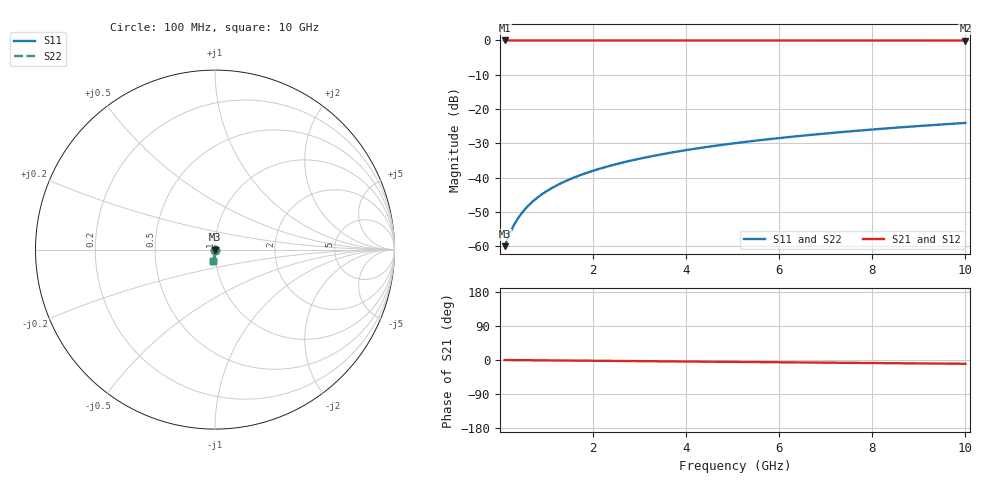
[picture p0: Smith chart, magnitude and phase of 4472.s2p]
# Hz S RI R 50.00
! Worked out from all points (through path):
!   100 points, 100 MHz to 10 GHz, reference 50 ohm
!   highest |S21| = -0.01 dB at 100 MHz (marker M1); lowest = 0.0 dB at 10 GHz (marker M2)
!   group delay of S21, straight-line fit = 2.77 ps
!   lowest |S11| = -59.9 dB at 100 MHz (marker M3), VSWR 1.00, Z = 50.1 - j0.0634 ohm
!   |S11| at or under -10 dB: start of sweep to end of sweep
!   |S22| runs from -59.9 to -24.0 dB; largest |S21 - S12| = 0
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1e8  0.000786 -0.000633  0.9992 -0.00174  0.9992 -0.00174  0.000786 -0.000633
2e8  0.000787 -0.00127  0.9992 -0.00347  0.9992 -0.00347  0.000787 -0.00127
3e8  0.000785 -0.0019  0.9992 -0.00521  0.9992 -0.00521  0.000785 -0.0019
4e8  0.000779 -0.00253  0.9992 -0.00695  0.9992 -0.00695  0.000779 -0.00253
5e8  0.000771 -0.00316  0.9991 -0.00868  0.9991 -0.00868  0.000771 -0.00316
6e8  0.00076 -0.0038  0.9991 -0.0104  0.9991 -0.0104  0.00076 -0.0038
7e8  0.000747 -0.00443  0.9991 -0.0122  0.9991 -0.0122  0.000747 -0.00443
9e8  0.000713 -0.00569  0.999 -0.0156  0.999 -0.0156  0.000713 -0.00569
1e9  0.000693 -0.00633  0.999 -0.0174  0.999 -0.0174  0.000693 -0.00633
1.2e9  0.000646 -0.00759  0.9989 -0.0208  0.9989 -0.0208  0.000646 -0.00759
1.5e9  0.000558 -0.00949  0.9988 -0.026  0.9988 -0.026  0.000558 -0.00949
1.8e9  0.00045 -0.0114  0.9986 -0.0313  0.9986 -0.0313  0.00045 -0.0114
2.1e9  0.000322 -0.0133  0.9984 -0.0365  0.9984 -0.0365  0.000322 -0.0133
2.5e9  0.00012 -0.0158  0.9981 -0.0434  0.9981 -0.0434  0.00012 -0.0158
2.9e9  -0.000117 -0.0183  0.9977 -0.0503  0.9977 -0.0503  -0.000117 -0.0183
3.4e9  -0.000463 -0.0215  0.9971 -0.059  0.9971 -0.059  -0.000463 -0.0215
4.2e9  -0.00113 -0.0265  0.9961 -0.0729  0.9961 -0.0729  -0.00113 -0.0265
5.1e9  -0.00205 -0.0321  0.9946 -0.0884  0.9946 -0.0884  -0.00205 -0.0321
5.9e9  -0.00301 -0.0371  0.9931 -0.1023  0.9931 -0.1023  -0.00301 -0.0371
6.7e9  -0.00412 -0.0421  0.9914 -0.116  0.9914 -0.116  -0.00412 -0.0421
8.4e9  -0.00691 -0.0525  0.987 -0.1452  0.987 -0.1452  -0.00691 -0.0525
1e10  -0.0101 -0.0621  0.9819 -0.1726  0.9819 -0.1726  -0.0101 -0.0621
